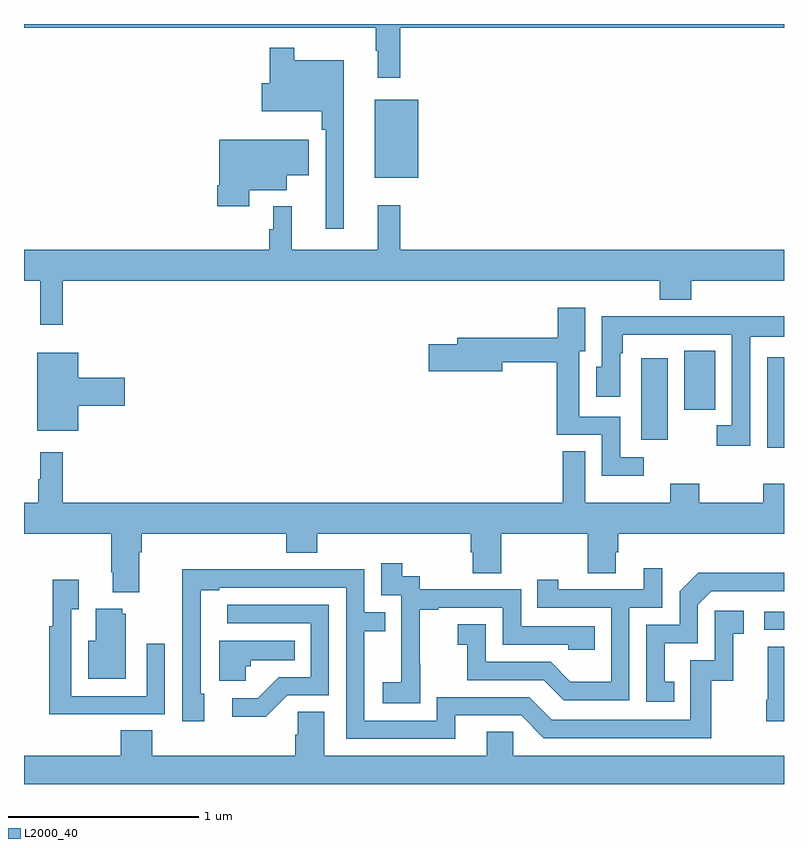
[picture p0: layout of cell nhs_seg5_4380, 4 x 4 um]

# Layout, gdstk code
import gdstk
lib = gdstk.Library(unit=1e-6, precision=1e-09)
def R(c, l, rs):  # rectangles x0, y0, x1, y1
    for r in rs: c.add(gdstk.rectangle(r[:2], r[2:], *l))
def P(c, l, *ps):  # polygons
    for p in ps: c.add(gdstk.Polygon(p, *l))
L2000_40 = (2000, 40)

nhs_seg5_4380 = lib.new_cell('nhs_seg5_4380')
R(nhs_seg5_4380, L2000_40, [(372.897,833.61,373,833.706), (372.911,834.57,373,835.045), (372.248,834.612,372.388,835.039), (372.476,834.768,372.637,835.079), (370.847,835.991,371.074,836.401)])
P(nhs_seg5_4380, L2000_40, [(370.979,836.78),(373,836.78),(373,836.799),(369,836.799),(369,836.78),(370.851,836.78),(370.851,836.657),(370.862,836.657),(370.862,836.517),(370.979,836.517)],
  [(370.684,836.608),(370.423,836.608),(370.423,836.674),(370.294,836.674),(370.294,836.487),(370.25,836.487),(370.25,836.339),(370.567,836.339),(370.567,836.243),(370.587,836.243),(370.587,835.722),(370.684,835.722)],
  [(370.186,835.925),(370.384,835.925),(370.384,836.003),(370.498,836.003),(370.498,836.191),(370.028,836.191),(370.028,835.951),(370.016,835.951),(370.016,835.839),(370.186,835.839)],
  [(369.203,835.448),(372.347,835.448),(372.347,835.349),(372.512,835.349),(372.512,835.448),(373,835.448),(373,835.612),(370.979,835.612),(370.979,835.846),(370.862,835.846),(370.862,835.612),(370.409,835.612),(370.409,835.84),(370.311,835.84),(370.311,835.719),(370.291,835.719),(370.291,835.612),(369,835.612),(369,835.448),(369.086,835.448),(369.086,835.215),(369.203,835.215)],
  [(372.262,834.519),(372.138,834.519),(372.138,834.732),(371.923,834.732),(371.923,835.077),(371.953,835.077),(371.953,835.306),(371.81,835.306),(371.81,835.147),(371.279,835.147),(371.279,835.113),(371.13,835.113),(371.13,834.971),(371.518,834.971),(371.518,835.018),(371.805,835.018),(371.805,834.636),(372.042,834.636),(372.042,834.422),(372.262,834.422)],
  [(372.822,835.154),(373,835.154),(373,835.262),(372.629,835.262),(372.629,835.26),(372.263,835.26),(372.263,835.262),(372.042,835.262),(372.042,834.996),(372.011,834.996),(372.011,834.837),(372.138,834.837),(372.138,835.067),(372.151,835.067),(372.151,835.164),(372.726,835.164),(372.726,834.687),(372.645,834.687),(372.645,834.579),(372.822,834.579)],
  [(369.286,834.791),(369.529,834.791),(369.529,834.938),(369.286,834.938),(369.286,835.069),(369.071,835.069),(369.071,834.659),(369.286,834.659)],
  [(369.607,834.02),(369.62,834.02),(369.62,834.116),(370.379,834.116),(370.379,834.017),(370.544,834.017),(370.544,834.116),(371.351,834.116),(371.351,834.018),(371.363,834.018),(371.363,833.908),(371.511,833.908),(371.511,834.116),(371.968,834.116),(371.968,833.908),(372.115,833.908),(372.115,834.018),(372.128,834.018),(372.128,834.116),(373,834.116),(373,834.379),(372.892,834.379),(372.892,834.28),(372.555,834.28),(372.555,834.379),(372.4,834.379),(372.4,834.28),(371.953,834.28),(371.953,834.551),(371.835,834.551),(371.835,834.28),(369.203,834.28),(369.203,834.544),(369.086,834.544),(369.086,834.404),(369.075,834.404),(369.075,834.28),(369,834.28),(369,834.116),(369.46,834.116),(369.46,833.914),(369.467,833.914),(369.467,833.807),(369.607,833.807)],
  [(371.085,833.431),(371.084,833.431),(371.084,833.715),(371.179,833.715),(371.179,833.727),(371.52,833.727),(371.52,833.532),(371.865,833.532),(371.865,833.505),(372.005,833.505),(372.005,833.628),(371.616,833.628),(371.616,833.823),(371.082,833.823),(371.082,833.892),(370.99,833.892),(370.99,833.962),(370.881,833.962),(370.881,833.793),(370.986,833.793),(370.986,833.564),(370.985,833.564),(370.985,833.335),(370.887,833.335),(370.887,833.225),(371.085,833.225)],
  [(372.186,833.727),(372.36,833.727),(372.36,833.935),(372.263,833.935),(372.263,833.823),(371.812,833.823),(371.812,833.875),(371.701,833.875),(371.701,833.727),(372.09,833.727),(372.09,833.338),(371.876,833.338),(371.772,833.442),(371.43,833.442),(371.43,833.641),(371.283,833.641),(371.283,833.531),(371.332,833.531),(371.332,833.346),(371.735,833.346),(371.84,833.241),(372.186,833.241)],
  [(371.269,833.16),(371.616,833.16),(371.736,833.04),(372.616,833.04),(372.616,833.343),(372.734,833.343),(372.734,833.589),(372.787,833.589),(372.787,833.71),(372.636,833.71),(372.636,833.451),(372.507,833.451),(372.507,833.136),(371.778,833.136),(371.658,833.256),(371.172,833.256),(371.172,833.133),(370.791,833.133),(370.791,833.602),(370.901,833.602),(370.901,833.703),(370.791,833.703),(370.791,833.928),(370.295,833.928),(370.295,833.93),(369.832,833.93),(369.832,833.623),(369.834,833.623),(369.834,833.13),(369.949,833.13),(369.949,833.274),(369.93,833.274),(369.93,833.82),(370.027,833.82),(370.027,833.832),(370.695,833.832),(370.695,833.037),(371.269,833.037)],
  [(372.422,833.337),(372.373,833.337),(372.373,833.541),(372.546,833.541),(372.546,833.742),(372.618,833.814),(373,833.814),(373,833.91),(372.956,833.91),(372.956,833.912),(372.548,833.912),(372.45,833.814),(372.45,833.637),(372.276,833.637),(372.276,833.232),(372.422,833.232)],
  [(369.425,833.166),(369.741,833.166),(369.741,833.536),(369.645,833.536),(369.645,833.262),(369.249,833.262),(369.249,833.719),(369.289,833.719),(369.289,833.875),(369.152,833.875),(369.152,833.63),(369.133,833.63),(369.133,833.165),(369.425,833.165)],
  [(370.386,833.265),(370.605,833.265),(370.605,833.742),(370.071,833.742),(370.071,833.646),(370.509,833.646),(370.509,833.361),(370.34,833.361),(370.229,833.25),(370.095,833.25),(370.095,833.153),(370.273,833.153)],
  [(369.535,833.694),(369.516,833.694),(369.516,833.722),(369.377,833.722),(369.377,833.554),(369.338,833.554),(369.338,833.354),(369.535,833.354)],
  [(370.167,833.418),(370.194,833.418),(370.194,833.45),(370.424,833.45),(370.424,833.554),(370.028,833.554),(370.028,833.342),(370.167,833.342)],
  [(373,833.521),(372.914,833.521),(372.914,833.242),(372.907,833.242),(372.907,833.13),(373,833.13)],
  [(373,832.948),(371.574,832.948),(371.574,833.075),(371.435,833.075),(371.435,832.948),(370.579,832.948),(370.579,833.18),(370.44,833.18),(370.44,833.057),(370.427,833.057),(370.427,832.948),(369.674,832.948),(369.674,833.081),(369.509,833.081),(369.509,832.948),(369,832.948),(369,832.799),(373,832.799)])

lib.write_gds('nhs_seg5_4380.gds')
